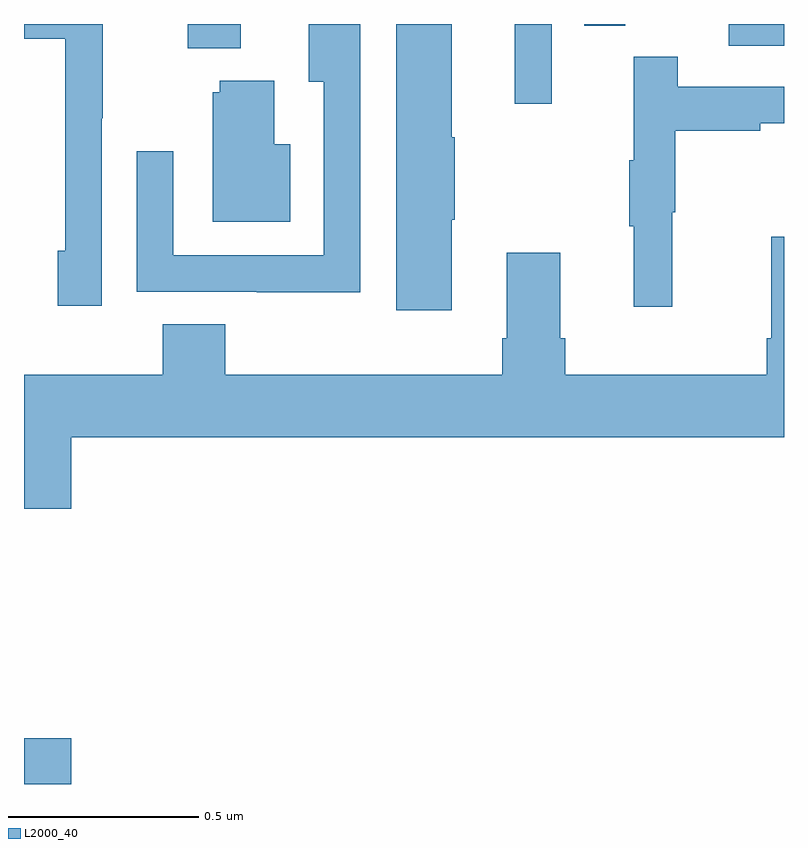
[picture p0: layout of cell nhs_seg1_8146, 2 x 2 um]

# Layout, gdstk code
import gdstk
lib = gdstk.Library(unit=1e-6, precision=1e-09)
def R(c, l, rs):  # rectangles x0, y0, x1, y1
    for r in rs: c.add(gdstk.rectangle(r[:2], r[2:], *l))
def P(c, l, *ps):  # polygons
    for p in ps: c.add(gdstk.Polygon(p, *l))
L2000_40 = (2000, 40)

nhs_seg1_8146 = lib.new_cell('nhs_seg1_8146')
R(nhs_seg1_8146, L2000_40, [(213,504.199,213.124,504.319), (214.292,505.989,214.389,506.199), (213.431,506.135,213.571,506.199), (214.854,506.142,215,506.199), (214.474,506.194,214.582,506.199)])
P(nhs_seg1_8146, L2000_40, [(213.204,505.951),(213.207,505.951),(213.207,506.199),(213,506.199),(213,506.16),(213.108,506.16),(213.108,505.602),(213.089,505.602),(213.089,505.458),(213.204,505.458)],
  [(214.126,505.684),(214.134,505.684),(214.134,505.901),(214.126,505.901),(214.126,506.199),(213.98,506.199),(213.98,505.446),(214.126,505.446)],
  [(213.885,506.199),(213.749,506.199),(213.749,506.047),(213.789,506.047),(213.789,505.59),(213.393,505.59),(213.393,505.864),(213.297,505.864),(213.297,505.494),(213.613,505.494),(213.613,505.493),(213.885,505.493)],
  [(214.706,505.704),(214.714,505.704),(214.714,505.918),(214.937,505.918),(214.937,505.938),(215,505.938),(215,506.034),(214.721,506.034),(214.721,506.113),(214.604,506.113),(214.604,505.841),(214.593,505.841),(214.593,505.667),(214.604,505.667),(214.604,505.455),(214.706,505.455)],
  [(213.7,505.882),(213.658,505.882),(213.658,506.05),(213.515,506.05),(213.515,506.019),(213.497,506.019),(213.497,505.679),(213.7,505.679)],
  [(213.124,505.112),(215,505.112),(215,505.639),(214.967,505.639),(214.967,505.372),(214.955,505.372),(214.955,505.276),(214.424,505.276),(214.424,505.372),(214.411,505.372),(214.411,505.597),(214.271,505.597),(214.271,505.372),(214.259,505.372),(214.259,505.276),(213.53,505.276),(213.53,505.409),(213.365,505.409),(213.365,505.276),(213,505.276),(213,504.924),(213.124,504.924)])

lib.write_gds('nhs_seg1_8146.gds')
